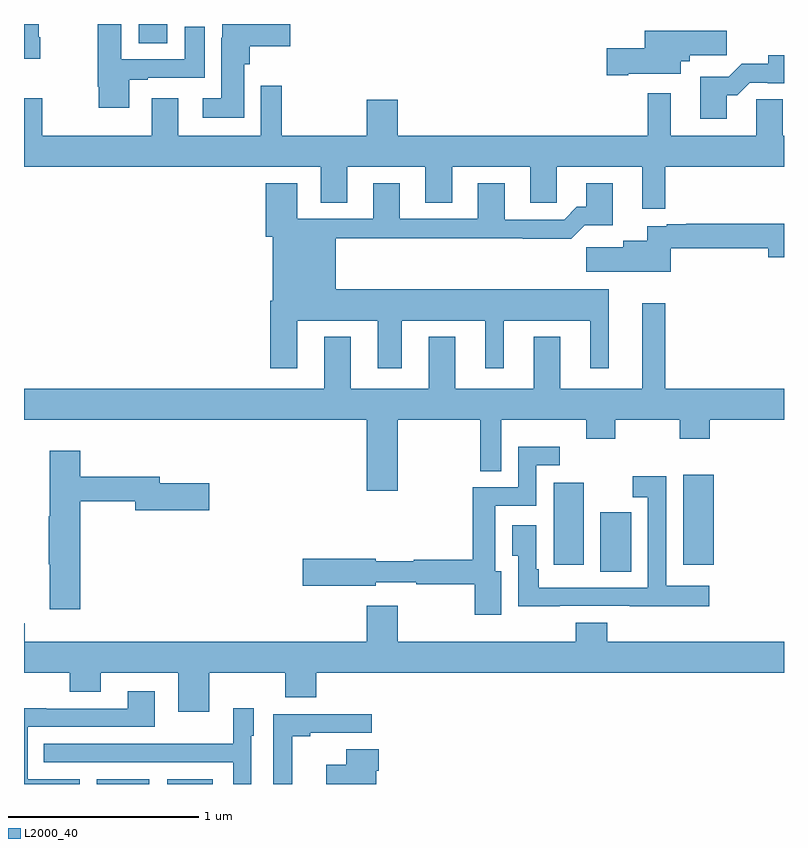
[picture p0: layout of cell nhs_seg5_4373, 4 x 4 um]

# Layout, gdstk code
import gdstk
lib = gdstk.Library(unit=1e-6, precision=1e-09)
def R(c, l, rs):  # rectangles x0, y0, x1, y1
    for r in rs: c.add(gdstk.rectangle(r[:2], r[2:], *l))
def P(c, l, *ps):  # polygons
    for p in ps: c.add(gdstk.Polygon(p, *l))
L2000_40 = (2000, 40)

nhs_seg5_4373 = lib.new_cell('nhs_seg5_4373')
R(nhs_seg5_4373, L2000_40, [(367.382,898.799,367.66,898.825), (367.754,898.799,367.993,898.825), (370.034,899.917,370.195,900.228), (369.788,899.952,369.946,900.385), (370.469,899.952,370.63,900.427), (367.604,902.698,367.753,902.799)])
P(nhs_seg5_4373, L2000_40, [(368.158,902.586),(368.189,902.586),(368.189,902.681),(368.401,902.681),(368.401,902.799),(368.043,902.799),(368.043,902.726),(368.039,902.726),(368.039,902.407),(367.941,902.407),(367.941,902.306),(368.158,902.306)],
  [(367.086,902.728),(367.078,902.728),(367.078,902.799),(367,902.799),(367,902.616),(367.086,902.616)],
  [(367.555,902.505),(367.651,902.505),(367.651,902.517),(367.951,902.517),(367.951,902.785),(367.847,902.785),(367.847,902.613),(367.513,902.613),(367.513,902.799),(367.387,902.799),(367.387,902.47),(367.394,902.47),(367.394,902.358),(367.555,902.358)],
  [(370.18,902.537),(370.456,902.537),(370.456,902.603),(370.504,902.603),(370.504,902.635),(370.699,902.635),(370.699,902.764),(370.268,902.764),(370.268,902.672),(370.068,902.672),(370.068,902.53),(370.18,902.53)],
  [(370.699,902.423),(370.754,902.423),(370.821,902.49),(370.915,902.49),(370.915,902.487),(371,902.487),(371,902.635),(370.916,902.635),(370.916,902.591),(370.778,902.591),(370.708,902.521),(370.559,902.521),(370.559,902.301),(370.699,902.301)],
  [(370.374,902.048),(371,902.048),(371,902.212),(370.993,902.212),(370.993,902.402),(370.854,902.402),(370.854,902.212),(370.405,902.212),(370.405,902.434),(370.284,902.434),(370.284,902.212),(368.968,902.212),(368.968,902.401),(368.804,902.401),(368.804,902.212),(368.356,902.212),(368.356,902.473),(368.247,902.473),(368.247,902.212),(367.813,902.212),(367.813,902.407),(367.673,902.407),(367.673,902.212),(367.095,902.212),(367.095,902.407),(367,902.407),(367,902.048),(368.561,902.048),(368.561,901.858),(368.701,901.858),(368.701,902.048),(369.113,902.048),(369.113,901.858),(369.253,901.858),(369.253,902.048),(369.665,902.048),(369.665,901.858),(369.804,901.858),(369.804,902.048),(370.253,902.048),(370.253,901.827),(370.374,901.827)],
  [(368.437,901.238),(368.861,901.238),(368.861,900.987),(368.989,900.987),(368.989,901.238),(369.428,901.238),(369.428,900.987),(369.526,900.987),(369.526,901.238),(369.98,901.238),(369.98,900.987),(370.078,900.987),(370.078,901.402),(368.641,901.402),(368.641,901.672),(369.625,901.672),(369.625,901.67),(369.881,901.67),(369.95,901.739),(370.099,901.739),(370.099,901.96),(369.959,901.96),(369.959,901.837),(369.91,901.837),(369.843,901.77),(369.529,901.77),(369.529,901.96),(369.389,901.96),(369.389,901.773),(368.977,901.773),(368.977,901.96),(368.837,901.96),(368.837,901.773),(368.437,901.773),(368.437,901.96),(368.273,901.96),(368.273,901.68),(368.309,901.68),(368.309,901.342),(368.297,901.342),(368.297,900.987),(368.437,900.987)],
  [(370.403,901.618),(370.916,901.618),(370.916,901.571),(371,901.571),(371,901.747),(370.486,901.747),(370.486,901.746),(370.384,901.746),(370.384,901.734),(370.28,901.734),(370.28,901.657),(370.154,901.657),(370.154,901.625),(369.96,901.625),(369.96,901.496),(370.403,901.496)],
  [(369.4,900.445),(369.511,900.445),(369.511,900.716),(369.958,900.716),(369.958,900.617),(370.113,900.617),(370.113,900.716),(370.45,900.716),(370.45,900.617),(370.61,900.617),(370.61,900.716),(371,900.716),(371,900.88),(370.375,900.88),(370.375,901.33),(370.253,901.33),(370.253,900.88),(369.823,900.88),(369.823,901.153),(369.683,901.153),(369.683,900.88),(369.271,900.88),(369.271,901.153),(369.131,901.153),(369.131,900.88),(368.719,900.88),(368.719,901.153),(368.579,901.153),(368.579,900.88),(367,900.88),(367,900.716),(368.804,900.716),(368.804,900.342),(368.968,900.342),(368.968,900.716),(369.4,900.716)],
  [(369.511,899.919),(369.481,899.919),(369.481,900.264),(369.696,900.264),(369.696,900.477),(369.82,900.477),(369.82,900.574),(369.6,900.574),(369.6,900.36),(369.363,900.36),(369.363,899.978),(369.05,899.978),(369.05,899.971),(368.85,899.971),(368.85,899.984),(368.466,899.984),(368.466,899.842),(368.85,899.842),(368.85,899.862),(369.064,899.862),(369.064,899.85),(369.373,899.85),(369.373,899.691),(369.511,899.691)],
  [(367.295,900.286),(367.586,900.286),(367.586,900.239),(367.975,900.239),(367.975,900.381),(367.714,900.381),(367.714,900.415),(367.295,900.415),(367.295,900.553),(367.136,900.553),(367.136,900.209),(367.129,900.209),(367.129,899.956),(367.136,899.956),(367.136,899.718),(367.295,899.718)],
  [(369.821,899.736),(370.187,899.736),(370.187,899.735),(370.606,899.735),(370.606,899.842),(370.38,899.842),(370.38,900.418),(370.203,900.418),(370.203,900.309),(370.284,900.309),(370.284,899.832),(369.709,899.832),(369.709,899.929),(369.696,899.929),(369.696,900.16),(369.569,900.16),(369.569,900.001),(369.6,900.001),(369.6,899.735),(369.821,899.735)],
  [(367.975,899.384),(368.375,899.384),(368.375,899.256),(368.539,899.256),(368.539,899.384),(371,899.384),(371,899.548),(370.07,899.548),(370.07,899.647),(369.905,899.647),(369.905,899.548),(368.968,899.548),(368.968,899.737),(368.804,899.737),(368.804,899.548),(367.004,899.548),(367.004,899.644),(367,899.644),(367,899.384),(367.241,899.384),(367.241,899.285),(367.405,899.285),(367.405,899.384),(367.811,899.384),(367.811,899.178),(367.975,899.178)],
  [(367.293,898.824),(367.02,898.824),(367.02,899.1),(367.687,899.1),(367.687,899.287),(367.547,899.287),(367.547,899.196),(367.117,899.196),(367.117,899.198),(367,899.198),(367,898.799),(367.293,898.799)],
  [(368.196,899.052),(368.209,899.052),(368.209,899.197),(368.1,899.197),(368.1,899.011),(367.783,899.011),(367.783,899.01),(367.105,899.01),(367.105,898.914),(368.1,898.914),(368.1,898.799),(368.196,898.799)],
  [(368.411,899.05),(368.506,899.05),(368.506,899.07),(368.83,899.07),(368.83,899.166),(368.313,899.166),(368.313,898.799),(368.411,898.799)],
  [(368.854,898.868),(368.867,898.868),(368.867,898.981),(368.696,898.981),(368.696,898.9),(368.591,898.9),(368.591,898.799),(368.854,898.799)])

lib.write_gds('nhs_seg5_4373.gds')
